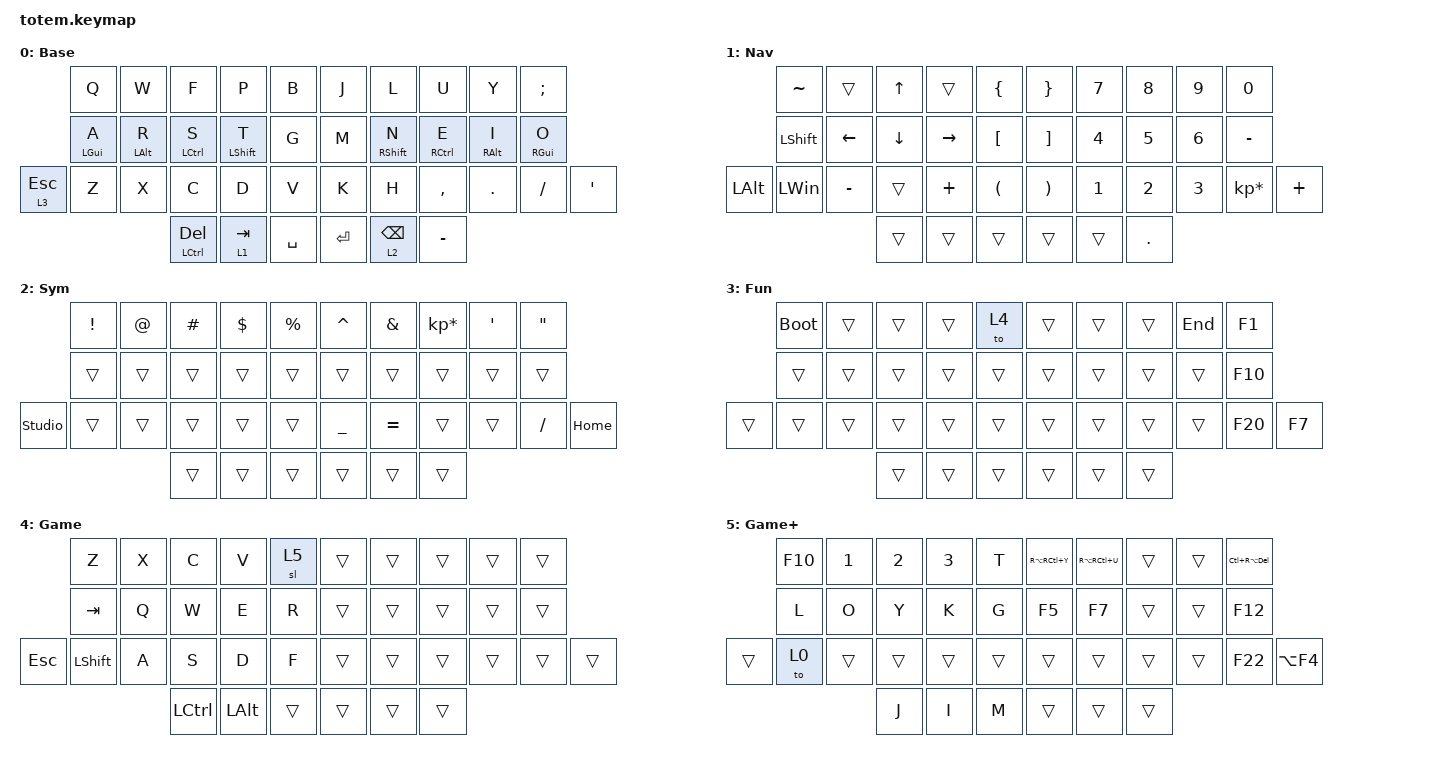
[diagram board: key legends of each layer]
//
//                                                        ▀▀▀▀▀     ▀▀▀▀▀          ▀▀█▀▀
//                                                        ▄▀▀▀▄  ▄  ▄▀▀▀▄  ▄  ▄▀▀▀▄  █  ▄▀▀▀▄
//                                                        █   █  █  █   █  █  █   █  █  █   █
//                                                         ▀▀▀   █   ▀▀▀   █   ▀▀▀   ▀   ▀▀▀
//                                                               █      ▄▄▄█▄▄▄    █   █  
//                                                               ▀      █  █  █     █▄█
//                                                             ▀▀▀▀▀    █  █  █      ▀
//                                                                      ▀  ▀  ▀
//
// ▄▄▄▄▄▄▄▄▄▄▄▄▄▄▄▄▄▄▄▄▄▄▄▄▄▄▄▄▄▄▄▄▄▄▄▄▄▄▄▄▄▄▄▄▄▄▄▄▄▄▄▄▄▄▄▄▄▄▄▄▄▄▄▄▄▄▄▄▄▄▄▄▄▄▄▄▄▄▄▄▄▄▄▄▄▄▄▄▄▄▄▄▄▄▄▄▄▄▄▄▄▄▄▄▄▄▄▄▄▄▄▄▄▄▄▄▄▄▄▄▄▄▄▄▄▄▄▄▄▄▄▄▄▄▄▄▄▄▄▄▄▄▄▄▄▄▄▄▄

#include <behaviors.dtsi>
#include <dt-bindings/zmk/keys.h>

#define Base        0
#define Nav         1
#define Sym         2
#define Fun         3
#define Game        4
#define Gameplus    5

&mt {
    quick-tap-ms = <100>;
    global-quick-tap;
    flavor = "tap-preferred";
    tapping-term-ms = <170>;
};

&lt {
    tapping-term-ms = <240>;
    flavor = "balanced";
    quick-tap-ms = <150>;
};

/ {
    behaviors {
        hml: home_row_mod_left {
            compatible = "zmk,behavior-hold-tap";
            #binding-cells = <2>;
            flavor = "balanced";
            require-prior-idle-ms = <150>;
            tapping-term-ms = <280>;
            quick-tap-ms = <175>;
            bindings = <&kp>, <&kp>;
            // Right-hand alphas (5-9, 15-19, 26-31) and all thumbs (32-37)
            hold-trigger-key-positions = <5 6 7 8 9 15 16 17 18 19 26 27 28 29 30 31 32 33 34 35 36 37>;
            hold-trigger-on-release;
        };
        hmr: home_row_mod_right {
            compatible = "zmk,behavior-hold-tap";
            #binding-cells = <2>;
            flavor = "balanced";
            require-prior-idle-ms = <150>;
            tapping-term-ms = <280>;
            quick-tap-ms = <175>;
            bindings = <&kp>, <&kp>;
            // Left-hand alphas (0-4, 10-14, 20-25) and all thumbs (32-37)
            hold-trigger-key-positions = <0 1 2 3 4 10 11 12 13 14 20 21 22 23 24 25 32 33 34 35 36 37>;
            hold-trigger-on-release;
        };
    };

    combos { compatible = "zmk,combos"; };

    keymap {
        compatible = "zmk,keymap";

        Base {
            display-name = "Base";
            bindings = <
              &kp Q       &kp W       &kp F          &kp P         &kp B        &kp J    &kp L        &kp U        &kp Y       &kp SEMICOLON
              &hml LGUI A  &hml LALT R  &hml LCTRL S    &hml LSHIFT T  &kp G        &kp M    &hmr RSHFT N  &hmr RCTRL E  &hmr RALT I  &hmr RGUI O
&lt 3 ESCAPE  &kp Z       &kp X       &kp C          &kp D         &kp V        &kp K    &kp H        &kp COMMA    &kp DOT     &kp SLASH           &kp APOSTROPHE
                                      &mt LCTRL DEL  &lt 1 TAB     &kp SPACE    &kp RET  &lt 2 BSPC   &kp MINUS
            >;
        };

        Nav {
            display-name = "Nav";
            bindings = <
              &kp TILDE       &trans     &kp UP_ARROW  &trans     &kp LBRC    &kp RBRC  &kp NUMBER_7  &kp NUMBER_8  &kp NUMBER_9  &kp NUMBER_0
              &kp LEFT_SHIFT  &kp LEFT   &kp DOWN      &kp RIGHT  &kp LBKT    &kp RBKT  &kp NUMBER_4  &kp NUMBER_5  &kp NUMBER_6  &kp MINUS
&kp LEFT_ALT  &kp LEFT_WIN    &kp MINUS  &trans        &kp PLUS   &kp LPAR    &kp RPAR  &kp NUMBER_1  &kp NUMBER_2  &kp NUMBER_3  &kp KP_MULTIPLY  &kp PLUS
                                         &trans        &trans     &trans      &trans    &trans        &kp DOT
            >;
        };

        Sym {
            display-name = "Sym";
            bindings = <
                &kp EXCL  &kp AT  &kp HASH  &kp DOLLAR  &kp PERCENT    &kp CARET  &kp AMPERSAND  &kp KP_ASTERISK  &kp SQT  &kp DQT
                &trans    &trans  &trans    &trans      &trans         &trans     &trans         &trans           &trans   &trans
&studio_unlock  &trans    &trans  &trans    &trans      &trans         &kp UNDER  &kp EQUAL      &trans           &trans   &kp SLASH  &kp HOME
                                  &trans    &trans      &trans         &trans     &trans         &trans
            >;
        };

        Fun {
            display-name = "Fun";
            bindings = <
        &bootloader  &trans  &trans  &trans  &to 4     &trans  &trans  &trans  &kp END  &kp F1
        &trans       &trans  &trans  &trans  &trans    &trans  &trans  &trans  &trans   &kp F10
&trans  &trans       &trans  &trans  &trans  &trans    &trans  &trans  &trans  &trans   &kp F20  &kp F7
                             &trans  &trans  &trans    &trans  &trans  &trans
            >;
        };

        Gaming {
            display-name = "Game";
            bindings = <
            &kp Z           &kp X  &kp C      &kp V         &sl 5     &trans  &trans  &trans  &trans  &trans
            &kp TAB         &kp Q  &kp W      &kp E         &kp R     &trans  &trans  &trans  &trans  &trans
&kp ESCAPE  &kp LEFT_SHIFT  &kp A  &kp S      &kp D         &kp F     &trans  &trans  &trans  &trans  &trans  &trans
                                   &kp LCTRL  &kp LEFT_ALT  &trans    &trans  &trans  &trans
            >;
        };

        Gaming+ {
            display-name = "Game+";
            bindings = <
        &kp F10  &kp NUMBER_1  &kp NUMBER_2  &kp NUMBER_3  &kp T     &kp RA(RC(Y))  &kp RA(RC(U))  &trans  &trans  &kp LC(RA(DEL))
        &kp L    &kp O         &kp Y         &kp K         &kp G     &kp F5         &kp F7         &trans  &trans  &kp F12
&trans  &to 0    &trans        &trans        &trans        &trans    &trans         &trans         &trans  &trans  &kp F22          &kp LA(F4)
                               &kp J         &kp I         &kp M     &trans         &trans         &trans
            >;
        };
    };
};
